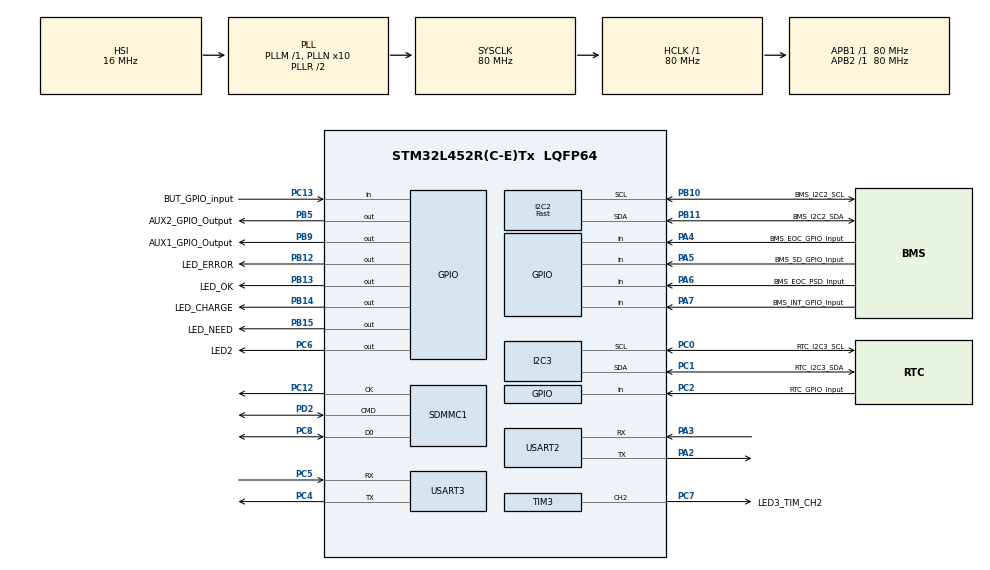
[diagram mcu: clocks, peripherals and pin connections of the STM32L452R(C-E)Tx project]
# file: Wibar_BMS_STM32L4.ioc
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FREERTOS.Tasks01=defaultTask,0,128,StartDefaultTask,Default,NULL,Dynamic,NULL,NULL
FREERTOS.configUSE_CO_ROUTINES=1
FREERTOS.configUSE_NEWLIB_REENTRANT=1
I2C2.I2C_Speed_Mode=I2C_Fast
I2C2.Timing=0x00F12981
I2C3.Timing=0x10D19CE4
IWDG.Prescaler=IWDG_PRESCALER_256
IWDG.Reload=3999
IWDG.Window=3999
Mcu.Family=STM32L4
Mcu.Name=STM32L452R(C-E)Tx
Mcu.Package=LQFP64
NVIC.PriorityGroup=NVIC_PRIORITYGROUP_4
NVIC.TIM1_UP_TIM16_IRQn=true\:15\:0\:false\:false\:true\:false\:true\:true\:true
PA13\ (JTMS/SWDIO).Mode=Serial_Wire
PA13\ (JTMS/SWDIO).Signal=SYS_JTMS-SWDIO
PA14\ (JTCK/SWCLK).Mode=Serial_Wire
PA14\ (JTCK/SWCLK).Signal=SYS_JTCK-SWCLK
PA2.Mode=Asynchronous
PA2.Signal=USART2_TX
PA3.Mode=Asynchronous
PA3.Signal=USART2_RX
PA4.GPIO_Label=BMS_EOC_GPIO_Input
PA4.Signal=GPIO_Input
PA5.GPIO_Label=BMS_SD_GPIO_Input
PA5.Signal=GPIO_Input
PA6.GPIO_Label=BMS_EOC_PSD_Input
PA6.Signal=GPIO_Input
PA7.GPIO_Label=BMS_INT_GPIO_Input
PA7.Signal=GPIO_Input
PB10.GPIO_Label=BMS_I2C2_SCL
PB10.Mode=I2C
PB10.Signal=I2C2_SCL
PB11.GPIO_Label=BMS_I2C2_SDA
PB11.Mode=I2C
PB11.Signal=I2C2_SDA
PB12.GPIO_Label=LED_ERROR
PB12.Signal=GPIO_Output
PB13.GPIO_Label=LED_OK
PB13.Signal=GPIO_Output
PB14.GPIO_Label=LED_CHARGE
PB14.Signal=GPIO_Output
PB15.GPIO_Label=LED_NEED
PB15.Signal=GPIO_Output
PB5.GPIO_Label=AUX2_GPIO_Output
PB5.Signal=GPIO_Output
PB9.GPIO_Label=AUX1_GPIO_Output
PB9.Signal=GPIO_Output
PC0.GPIO_Label=RTC_I2C3_SCL
PC0.Mode=I2C
PC0.Signal=I2C3_SCL
PC1.GPIO_Label=RTC_I2C3_SDA
PC1.Mode=I2C
PC1.Signal=I2C3_SDA
PC12.Mode=SD_1_bit
PC12.Signal=SDMMC1_CK
PC13.GPIO_Label=BUT_GPIO_input
PC13.GPIO_PuPd=GPIO_NOPULL
PC13.Signal=GPIO_Input
PC14-OSC32_IN\ (PC14).Mode=LSE-External-Oscillator
PC14-OSC32_IN\ (PC14).Signal=RCC_OSC32_IN
PC15-OSC32_OUT\ (PC15).Mode=LSE-External-Oscillator
PC15-OSC32_OUT\ (PC15).Signal=RCC_OSC32_OUT
PC2.GPIO_Label=RTC_GPIO_Input
PC2.Signal=GPIO_Input
PC4.Mode=Asynchronous
PC4.Signal=USART3_TX
PC5.Mode=Asynchronous
PC5.Signal=USART3_RX
PC6.GPIO_Label=LED2
PC6.Signal=GPIO_Output
PC7.GPIO_Label=LED3_TIM_CH2
PC7.Signal=S_TIM3_CH2
PC8.Mode=SD_1_bit
PC8.Signal=SDMMC1_D0
PD2.Mode=SD_1_bit
PD2.Signal=SDMMC1_CMD
ProjectManager.HeapSize=0x400
ProjectManager.StackSize=0x400
ProjectManager.TargetToolchain=STM32CubeIDE
RCC.ADCFreq_Value=64000000
RCC.AHBFreq_Value=80000000
RCC.APB1Freq_Value=80000000
RCC.APB1TimFreq_Value=80000000
RCC.APB2Freq_Value=80000000
RCC.APB2TimFreq_Value=80000000
RCC.CortexFreq_Value=80000000
RCC.HCLKFreq_Value=80000000
RCC.HSE_VALUE=8000000
RCC.HSI48_VALUE=48000000
RCC.HSI_VALUE=16000000
RCC.MSI_VALUE=4000000
RCC.PLLN=10
RCC.PLLSAI1Q=RCC_PLLQ_DIV4
RCC.PLLSourceVirtual=RCC_PLLSOURCE_HSI
RCC.SYSCLKFreq_VALUE=80000000
RCC.SYSCLKSource=RCC_SYSCLKSOURCE_PLLCLK
RCC.USBFreq_Value=32000000
RCC.VCOOutputFreq_Value=160000000
SH.S_TIM3_CH2.0=TIM3_CH2,PWM Generation2 CH2
TIM16.AutoReloadPreload=TIM_AUTORELOAD_PRELOAD_DISABLE
TIM16.Period=9999
TIM16.Prescaler=7999
TIM3.Channel-PWM\ Generation2\ CH2=TIM_CHANNEL_2
TIM3.Period=100-1
TIM3.Prescaler=4000-1
TIM3.Pulse-PWM\ Generation2\ CH2=100-1
USART2.VirtualMode-Asynchronous=VM_ASYNC
USART3.VirtualMode-Asynchronous=VM_ASYNC
VP_FREERTOS_VS_CMSIS_V1.Mode=CMSIS_V1
VP_IWDG_VS_IWDG.Mode=IWDG_Activate
VP_RNG_VS_RNG.Mode=RNG_Activate
VP_TIM16_VS_ClockSourceINT.Mode=Enable_Timer
board=custom

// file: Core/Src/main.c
/* USER CODE BEGIN Header */
/**
  ******************************************************************************
  * @file           : main.c
  * @brief          : Main program body
  ******************************************************************************
  * @attention
  *
  * Copyright (c) 2024 STMicroelectronics.
  * All rights reserved.
  *
  * This software is licensed under terms that can be found in the LICENSE file
  * in the root directory of this software component.
  * If no LICENSE file comes with this software, it is provided AS-IS.
  *
  ******************************************************************************
  */
/* USER CODE END Header */
#include "main.h"
#include "cmsis_os.h"
#include "i2c.h"
#include "iwdg.h"
#include "rng.h"
#include "sdmmc.h"
#include "tim.h"
#include "usart.h"
#include "gpio.h"

void SystemClock_Config(void);
void PeriphCommonClock_Config(void);
void MX_FREERTOS_Init(void);

int main(void)
{

  /* MCU Configuration--------------------------------------------------------*/

  /* Reset of all peripherals, Initializes the Flash interface and the Systick. */
  HAL_Init();

  /* Configure the system clock */
  SystemClock_Config();

  /* Configure the peripherals common clocks */
  PeriphCommonClock_Config();

  /* USER CODE BEGIN SysInit */
  HAL_Delay(3000);
  /* USER CODE END SysInit */

  /* Initialize all configured peripherals */
  MX_GPIO_Init();
  MX_USART2_UART_Init();
  MX_TIM3_Init();
  MX_I2C2_Init();
  MX_USART3_UART_Init();
  MX_SDMMC1_SD_Init();
  MX_I2C3_Init();
  MX_IWDG_Init();
  MX_TIM16_Init();
  MX_RNG_Init();
  /* USER CODE BEGIN 2 */

  HAL_GPIO_WritePin(LED2_GPIO_Port, LED2_Pin, GPIO_PIN_SET);

  Init_SDcard();

  printf("\r\n");
  printf("------------------------\r\n");
  printf("Welcome from STM32L452RE\r\n");
  printf("------------------------\r\n");

  /* USER CODE END 2 */

  /* Call init function for freertos objects (in cmsis_os2.c) */
  MX_FREERTOS_Init();

  /* Start scheduler */
  osKernelStart();

  /* We should never get here as control is now taken by the scheduler */

  /* Infinite loop */
  while (1)
  {

    /* USER CODE BEGIN 3 */
	//  timerTask();

  }
  /* USER CODE END 3 */
}

void SystemClock_Config(void)
{
  RCC_OscInitTypeDef RCC_OscInitStruct = {0};
  RCC_ClkInitTypeDef RCC_ClkInitStruct = {0};

  /** Configure the main internal regulator output voltage
  */
  if (HAL_PWREx_ControlVoltageScaling(PWR_REGULATOR_VOLTAGE_SCALE1) != HAL_OK)
  {
    Error_Handler();
  }

  /** Initializes the RCC Oscillators according to the specified parameters
  * in the RCC_OscInitTypeDef structure.
  */
  RCC_OscInitStruct.OscillatorType = RCC_OSCILLATORTYPE_HSI|RCC_OSCILLATORTYPE_LSI;
  RCC_OscInitStruct.HSIState = RCC_HSI_ON;
  RCC_OscInitStruct.HSICalibrationValue = 64;
  RCC_OscInitStruct.LSIState = RCC_LSI_ON;
  RCC_OscInitStruct.PLL.PLLState = RCC_PLL_ON;
  RCC_OscInitStruct.PLL.PLLSource = RCC_PLLSOURCE_HSI;
  RCC_OscInitStruct.PLL.PLLM = 1;
  RCC_OscInitStruct.PLL.PLLN = 10;
  RCC_OscInitStruct.PLL.PLLP = RCC_PLLP_DIV7;
  RCC_OscInitStruct.PLL.PLLQ = RCC_PLLQ_DIV2;
  RCC_OscInitStruct.PLL.PLLR = RCC_PLLR_DIV2;
  if (HAL_RCC_OscConfig(&RCC_OscInitStruct) != HAL_OK)
  {
    Error_Handler();
  }

  /** Initializes the CPU, AHB and APB buses clocks
  */
  RCC_ClkInitStruct.ClockType = RCC_CLOCKTYPE_HCLK|RCC_CLOCKTYPE_SYSCLK
                              |RCC_CLOCKTYPE_PCLK1|RCC_CLOCKTYPE_PCLK2;
  RCC_ClkInitStruct.SYSCLKSource = RCC_SYSCLKSOURCE_PLLCLK;
  RCC_ClkInitStruct.AHBCLKDivider = RCC_SYSCLK_DIV1;
  RCC_ClkInitStruct.APB1CLKDivider = RCC_HCLK_DIV1;
  RCC_ClkInitStruct.APB2CLKDivider = RCC_HCLK_DIV1;

  if (HAL_RCC_ClockConfig(&RCC_ClkInitStruct, FLASH_LATENCY_4) != HAL_OK)
  {
    Error_Handler();
  }
}

void PeriphCommonClock_Config(void)
{
  RCC_PeriphCLKInitTypeDef PeriphClkInit = {0};

  /** Initializes the peripherals clock
  */
  PeriphClkInit.PeriphClockSelection = RCC_PERIPHCLK_SDMMC1|RCC_PERIPHCLK_RNG;
  PeriphClkInit.RngClockSelection = RCC_RNGCLKSOURCE_PLLSAI1;
  PeriphClkInit.Sdmmc1ClockSelection = RCC_SDMMC1CLKSOURCE_PLLSAI1;
  PeriphClkInit.PLLSAI1.PLLSAI1Source = RCC_PLLSOURCE_HSI;
  PeriphClkInit.PLLSAI1.PLLSAI1M = 1;
  PeriphClkInit.PLLSAI1.PLLSAI1N = 8;
  PeriphClkInit.PLLSAI1.PLLSAI1P = RCC_PLLP_DIV7;
  PeriphClkInit.PLLSAI1.PLLSAI1Q = RCC_PLLQ_DIV4;
  PeriphClkInit.PLLSAI1.PLLSAI1R = RCC_PLLR_DIV2;
  PeriphClkInit.PLLSAI1.PLLSAI1ClockOut = RCC_PLLSAI1_48M2CLK;
  if (HAL_RCCEx_PeriphCLKConfig(&PeriphClkInit) != HAL_OK)
  {
    Error_Handler();
  }
}

/* USER CODE BEGIN 4 */
//__weak void HAL_Delay(uint32_t Delay)
//{
//	osDelay(Delay);
//}
/* USER CODE END 4 */

void Error_Handler(void)
{
  /* USER CODE BEGIN Error_Handler_Debug */
  /* User can add his own implementation to report the HAL error return state */
	HAL_GPIO_WritePin(LED2_GPIO_Port, LED2_Pin, 				GPIO_PIN_RESET);
	HAL_GPIO_WritePin(LED_ERROR_GPIO_Port, LED_ERROR_Pin, 		GPIO_PIN_RESET);
	HAL_GPIO_WritePin(LED_NEED_GPIO_Port, LED_NEED_Pin, 		GPIO_PIN_SET);
	HAL_GPIO_WritePin(LED_CHARGE_GPIO_Port, LED_CHARGE_Pin,		GPIO_PIN_SET);
	HAL_GPIO_WritePin(LED_OK_GPIO_Port, LED_OK_Pin, 			GPIO_PIN_SET);
  __disable_irq();

  while (1)
  {
  }
  /* USER CODE END Error_Handler_Debug */
}

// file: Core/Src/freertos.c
/* USER CODE BEGIN Header */
/**
  ******************************************************************************
  * File Name          : freertos.c
  * Description        : Code for freertos applications
  ******************************************************************************
  * @attention
  *
  * Copyright (c) 2024 STMicroelectronics.
  * All rights reserved.
  *
  * This software is licensed under terms that can be found in the LICENSE file
  * in the root directory of this software component.
  * If no LICENSE file comes with this software, it is provided AS-IS.
  *
  ******************************************************************************
  */
/* USER CODE END Header */

#include "FreeRTOS.h"
#include "task.h"
#include "main.h"
#include "cmsis_os.h"

/* USER CODE BEGIN Includes */
#include "tim.h"
#include "math.h"
#include "stdio.h"

#include "iwdg.h"
#include "mydevice.h"
#include "ISL94202.h"
#include "BMS.h"
//#include "FSM.h"
#include "TCA9554.h"
//#include "onewire.h"
#include <string.h>

/* USER CODE END Includes */

/* USER CODE BEGIN PD */
//#define BUT_WAKE  	0x0
//#define BUT_SLEEP  	0x1

#define ON  		0x1
#define OFF  		0x0

#define TIME_01s  	1U
#define TIME_05s  	5U
#define TIME_1s  	10U
#define TIME_2s  	20U
#define TIME_3s  	30U
#define TIME_5s  	50U
#define TIME_10s 	100U
#define TIME_12s 	120U
#define TIME_2min 	1200U

/* USER CODE END PD */

/* USER CODE BEGIN PM */

typedef enum
{
	BUT_WAKE,
	BUT_SLEEP
}eBut_state;

typedef enum
{
	LED_ON_BOARD,
	LED_ERROR,
	LED_OK,
	LED_90,
	LED_30
}eLed_state;

typedef struct {
	float out;
	float Kahan;
} adc_t;

static float Ceil_3(float liczba)
{
	float wynik = liczba*1000;
	int a = (int)wynik;

	wynik =(float)a/1000;
	return wynik;
}

float Filter1_calc(float input, adc_t* add, float Ts_Ti)
{
	float integrator_last = add->out;
	float y = Ts_Ti * (input - integrator_last) - add->Kahan;
	add->out = integrator_last + y;
	add->Kahan = (add->out - integrator_last) - y;
	return add->out;
}

adc_t adc[14];
static float adc_Ts_Ti = 0.075;

static int cnt2;

/* USER CODE END PM */

osThreadId defaultTaskHandle;

/* USER CODE BEGIN FunctionPrototypes */
static void Shutdown_all(void){
	f_close(&MyFile);
	FATFS_UnLinkDriver(SDPath);

	printf(": BMS force shutdown!!!\r\n");
	myBms.Control3.CONTROL3_BIT.PDWN = 1;
	BMS_writeByte(CONTROL3_ADDR, myBms.Control3.CONTROL3);
}

/* USER CODE END FunctionPrototypes */

void StartDefaultTask(void const * argument);

void MX_FREERTOS_Init(void); /* (MISRA C 2004 rule 8.1) */

/* GetIdleTaskMemory prototype (linked to static allocation support) */
void vApplicationGetIdleTaskMemory( StaticTask_t **ppxIdleTaskTCBBuffer, StackType_t **ppxIdleTaskStackBuffer, uint32_t *pulIdleTaskStackSize );

/* USER CODE BEGIN GET_IDLE_TASK_MEMORY */
static StaticTask_t xIdleTaskTCBBuffer;
static StackType_t xIdleStack[configMINIMAL_STACK_SIZE];

void vApplicationGetIdleTaskMemory( StaticTask_t **ppxIdleTaskTCBBuffer, StackType_t **ppxIdleTaskStackBuffer, uint32_t *pulIdleTaskStackSize )
{
  *ppxIdleTaskTCBBuffer = &xIdleTaskTCBBuffer;
  *ppxIdleTaskStackBuffer = &xIdleStack[0];
  *pulIdleTaskStackSize = configMINIMAL_STACK_SIZE;
  /* place for user code */
}
/* USER CODE END GET_IDLE_TASK_MEMORY */

void MX_FREERTOS_Init(void) {

  /* Create the thread(s) */
  /* definition and creation of defaultTask */
  osThreadDef(defaultTask, StartDefaultTask, osPriorityNormal, 0, 128);
  defaultTaskHandle = osThreadCreate(osThread(defaultTask), NULL);

}

void StartDefaultTask(void const * argument)
{
  /* USER CODE BEGIN StartDefaultTask */
	// For LED3
	HAL_TIM_PWM_Start(&htim3, TIM_CHANNEL_2);

	bms.init = 1;
	//cpu.SDCardSave = 1;

	//write config ISL
	ISL94202_Init();

	//Control 0
	myBms.Control0.CONTROL0 = 0;;
	myBms.Control0.CONTROL0_BIT.CG = 0x01;	// The Current Gain setting to x5
	BMS_writeByte(CONTROL0_ADDR, myBms.Control0.CONTROL0);
	//Control 1
	BMS_writeByte(CONTROL1_ADDR, myBms.Control1.CONTROL1);
	//Control 2
	myBms.Control2.CONTROL2 = 0;
	myBms.Control2.CONTROL2_BIT.uC_FET = 1;
	myBms.Control2.CONTROL2_BIT.uC_CBAL = 0;
	myBms.Control2.CONTROL2_BIT.CBAL_ON = 1;
	BMS_writeByte(CONTROL2_ADDR, myBms.Control2.CONTROL2);
	//Control 3
	myBms.Control3.CONTROL3_BIT.DOZE = 0;
	BMS_writeByte(CONTROL3_ADDR, myBms.Control3.CONTROL3);

  /* Infinite loop */
	for(;;){
		ISL94202_ReadCellVoltages();
		BatteryPack = CheckBatteryStatus();
		ISL94202_ReadPackCurrent();
		ISL94202_ReadTemperatures();
		ISL94202_ReadPackVoltage();
		ISL94202_MinMaxVoltage();
		ISL94202_ReadVRGO();
		ISL94202_ReadStatusRegisters();
		ISL94202_ReadControlRegisters();

		myBms.Errors.bit.OVF	= BMSOpRegs.STATUS0.STATUS0_BIT.OVF;
		myBms.Errors.bit.OVLOF	= BMSOpRegs.STATUS0.STATUS0_BIT.OVLOF;
		myBms.Errors.bit.UVF	= BMSOpRegs.STATUS0.STATUS0_BIT.UVF;
		myBms.Errors.bit.UVLOF	= BMSOpRegs.STATUS0.STATUS0_BIT.UVLOF;
		myBms.Errors.bit.DOTF	= BMSOpRegs.STATUS0.STATUS0_BIT.DOTF;
		myBms.Errors.bit.DUTF	= BMSOpRegs.STATUS0.STATUS0_BIT.DUTF;
		myBms.Errors.bit.COTF	= BMSOpRegs.STATUS0.STATUS0_BIT.COTF;
		myBms.Errors.bit.CUTF	= BMSOpRegs.STATUS0.STATUS0_BIT.CUTF;

		myBms.Errors.bit.IOTF	= BMSOpRegs.STATUS1.STATUS1_BIT.IOTF;
		myBms.Errors.bit.COCF	= BMSOpRegs.STATUS1.STATUS1_BIT.COCF;
		myBms.Errors.bit.DOCF	= BMSOpRegs.STATUS1.STATUS1_BIT.DOCF;
		myBms.Errors.bit.DSCF	= BMSOpRegs.STATUS1.STATUS1_BIT.DSCF;
		myBms.Errors.bit.CELLF	= BMSOpRegs.STATUS1.STATUS1_BIT.CELLF;
		myBms.Errors.bit.OPENF	= BMSOpRegs.STATUS1.STATUS1_BIT.OPENF;

		myBms.Errors.bit.CBOT	= BMSOpRegs.STATUS3.STATUS3_BIT.CBOT;
		myBms.Errors.bit.CBUT	= BMSOpRegs.STATUS3.STATUS3_BIT.CBUT;

		//filter adc measurements
		for(uint8_t i=0;i<8;i++){
			bms.CellVoltages[i] = Ceil_3(Filter1_calc(BMSMeasurements.CellVoltages[i],&adc[i],adc_Ts_Ti));
		}
		bms.Vcellmin 	= Ceil_3(Filter1_calc(BMSMeasurements.Vcellmin,&adc[8],adc_Ts_Ti));
		bms.Vcellmax 	= Ceil_3(Filter1_calc(BMSMeasurements.Vcellmax,&adc[9],adc_Ts_Ti));
		bms.PackCurrent = Ceil_3(Filter1_calc(BMSMeasurements.PackCurrent,&adc[10],adc_Ts_Ti*10));
		bms.Vpack 		= Ceil_3(Filter1_calc(BMSMeasurements.Vpack,&adc[11],adc_Ts_Ti));
		bms.Temp1 		= Ceil_3(Filter1_calc(BMSMeasurements.Temp1,&adc[12],adc_Ts_Ti));
		bms.Temp2 		= Ceil_3(Filter1_calc(BMSMeasurements.Temp2,&adc[13],adc_Ts_Ti));

		if(bms.init){
			bms.init = 0;
			bms.state = STATE_DISCARGE;
			//Settings
			bms.set.CellDiffvalue_V 		= 0.8;
			bms.set.MaxTemperature_degree 	= 60.0;
			bms.set.MinTemperature_degree 	= 0.0;
			bms.set.PackVoltageMax_V 		= 29.5;
			bms.set.PackChargeVoltage_V 	= 29.3;
			bms.set.PackVoltageLed30_V		= 22.5;
			bms.set.PackDischargeVoltage_V 	= 20.5;
			bms.set.PackVoltageMin_V 		= 19.0;
			bms.set.CellDiffvalue_cnt		= 200;
			bms.set.CelVoltageMax_V			= 4.25;
			bms.set.CelVoltageMin_V			= 2.4;
		}

		//Main program
		if(bms.cntStart > TIME_3s){

			if(bms.Vcellmax > bms.set.CelVoltageMax_V){
				bms.alarms_cnt[5]++;
			}else bms.alarms_cnt[5] = 0;
			if ( bms.alarms_cnt[5] > TIME_5s) bms.alarms.bit.CellOverVoltage = 1;

			//Calculations
			bms.cal.CellDiff_V = bms.Vcellmax - bms.Vcellmin;
			if (bms.cal.CellDiff_V > bms.set.CellDiffvalue_V) 	bms.cal.CellDiff_cnt++;
			else												bms.cal.CellDiff_cnt = 0;
			//Buttons
			//bms.gpio.ButtonState[BUT_WAKE] =  1;
			bms.gpio.ButtonState[BUT_WAKE] =  HAL_GPIO_ReadPin(BUT_GPIO_input_GPIO_Port, BUT_GPIO_input_Pin);
	//TODO:don't use button
			bms.gpio.ButtonState[BUT_SLEEP] =  0;

			//ALARMS
			if((bms.Temp1 > bms.set.MaxTemperature_degree ||
					bms.Temp2 > bms.set.MaxTemperature_degree)){
				bms.alarms_cnt[0]++;
			}else bms.alarms_cnt[0] = 0;
			if ( bms.alarms_cnt[0] > TIME_5s) bms.alarms.bit.OverTemperature = 1;

			if((bms.Temp1 < bms.set.MinTemperature_degree ||
					bms.Temp2 < bms.set.MinTemperature_degree)){
				bms.alarms_cnt[1]++;
			}else bms.alarms_cnt[1] = 0;
			if ( bms.alarms_cnt[1] > TIME_5s) bms.alarms.bit.UnderTemperature = 1;

			if(bms.Vpack > bms.set.PackVoltageMax_V){
				bms.alarms_cnt[2]++;
			}else bms.alarms_cnt[2] = 0;
			if ( bms.alarms_cnt[2] > TIME_5s) bms.alarms.bit.PackOverVoltage = 1;

			if(bms.Vpack < bms.set.PackVoltageMin_V){
				bms.alarms_cnt[3]++;
			}else bms.alarms_cnt[3] = 0;
			if ( bms.alarms_cnt[3] > TIME_5s) bms.alarms.bit.PackUnderVoltage = 1;

			if(bms.cal.CellDiff_cnt > bms.set.CellDiffvalue_cnt){
				bms.alarms_cnt[3]++;
			}else bms.alarms_cnt[3] = 0;
			if ( bms.alarms_cnt[3] > TIME_5s) bms.alarms.bit.CellsDiferenceVoltage = 1;

			if(bms.Vcellmin < bms.set.CelVoltageMin_V){
				bms.alarms_cnt[4]++;
			}else bms.alarms_cnt[4] = 0;
			if ( bms.alarms_cnt[4] > TIME_5s) bms.alarms.bit.CellUnderVoltage = 1;

			if(bms.Vcellmax > bms.set.CelVoltageMax_V){
				bms.alarms_cnt[5]++;
			}else bms.alarms_cnt[5] = 0;
			if ( bms.alarms_cnt[5] > TIME_5s) bms.alarms.bit.CellOverVoltage = 1;

			//if (bms.alarms.bit.ISL_OVLO) 	BMSOpRegs.STATUS0.STATUS0_BIT.OVLOF = 1;
			//if (bms.alarms.bit.ISL_OV) 	BMSOpRegs.STATUS0.STATUS0_BIT.OVF	= 1;
			//if (bms.alarms.bit.ISL_UV) 	BMSOpRegs.STATUS0.STATUS0_BIT.UVF	= 1;
			//if (bms.alarms.bit.ISL_UVLO)	BMSOpRegs.STATUS0.STATUS0_BIT.UVLOF = 1;

			switch(bms.state)
			{
			   case STATE_IDLE:
				   if(bms.gpio.ButtonState[BUT_WAKE]) bms.ButBlocked = 0;
				   if (!bms.ButBlocked){
					   if (bms.gpio.ButtonState[BUT_WAKE])	bms.cntSleep = bms.cntSleep+1;
					   else									bms.cntSleep = 0;
				   }

				   if (bms.cntSleep >= TIME_1s) {
					   bms.alarms.all = 0;
					   bms.cntSleep = 0;
					   bms.state = STATE_DISCARGE;
				   }
				   //bms.state = STATE_DISCARGE;
				   break;

			   case STATE_CHARGE:
				   //check errors
				   if(bms.alarms.all){
					   bms.state = STATE_ERROR;
					   break;
				   }

				   //Idle state, absorbing  charge
				   //if(bms.PackCurrent == 0){
					//   if(bms.cnt[0] > TIME_2min){
					//	   bms.AbsorbingCharge = 1;
					//   }else bms.cnt[0]++;
				  // }else{
					//   bms.cnt[0] = 0;
					//   bms.AbsorbingCharge = 0;
				  /// }

				   //change state to discharging
				   if(bms.PackCurrent < 0){
					   if(bms.cnt[1]++ > TIME_05s){
						   bms.cnt[1] = 0;
						   bms.state = STATE_DISCARGE;
						   break;
					   }
				   }else{
					   bms.cnt[1] = 0;
				   }

				   //charge recognition
				   if(bms.Vpack > bms.set.PackChargeVoltage_V){
					   if(bms.cnt[2]++ > TIME_5s){
						   bms.cnt[2] = 0;
						   //bms.state = STATE_IDLE;
						   //break;
					   }
				   }else{
					   bms.cnt[2] = 0;
				   }

				   //force end of discharging
				   if (bms.gpio.ButtonState[BUT_WAKE])	bms.cntSleep = bms.cntSleep+1;
				   else									bms.cntSleep = 0;

				   if (bms.cntSleep >= TIME_1s) {
					   bms.ButBlocked = 1;
					   bms.cntSleep = 0;
					   Shutdown_all();
				   }

				   break;

			   case STATE_DISCARGE:
				   //check errors
				   if(bms.alarms.all){
					   bms.state = STATE_ERROR;
					   break;
				   }

				   //turning off charging
				   if(bms.PackCurrent > 0){
					   if(bms.cnt[0]++ > TIME_10s){
						   bms.cnt[0] = 0;
						   bms.state = STATE_CHARGE;
						   break;
					   }
				   }else{
					   bms.cnt[0] = 0;
				   }

					if(bms.Vpack < bms.set.PackDischargeVoltage_V){
					   if(bms.cnt[2]++ > TIME_12s){
						   bms.cnt[2] = 0;
						   bms.state = STATE_ERROR;
					   }
					}else{
					   bms.cnt[2] = 0;
					}

				   //force end of charging
				   if (bms.gpio.ButtonState[BUT_WAKE])	bms.cntSleep = bms.cntSleep+1;
				   else									bms.cntSleep = 0;

				   if (bms.cntSleep >= TIME_1s) {
					   bms.ButBlocked = 1;
					   bms.cntSleep = 0;
					   Shutdown_all();
				   }

				   break;

			   case STATE_ERROR:
				   //Auto sleep
				   bms.cntErrorSleep++;
				   if (bms.cntErrorSleep >= TIME_2min) {
					   bms.cntErrorSleep = 0;
					   Shutdown_all();
				   }

				   //force end of charging
				   if (bms.gpio.ButtonState[BUT_WAKE])	bms.cntSleep = bms.cntSleep+1;
				   else									bms.cntSleep = 0;

				   if (bms.cntSleep >= TIME_1s) {
					   bms.ButBlocked = 1;
					   bms.cntSleep = 0;
					   bms.state = STATE_IDLE;
				   }
				   break;

			   default:
				   bms.state = STATE_IDLE;
				   break;
			}

			if(bms.Vpack > bms.set.PackChargeVoltage_V-0.1) bms.AbsorbingCharge = 1;
			else											bms.AbsorbingCharge = 0;

			//LED OK
			if(bms.gpio.led_cnt[0] == TIME_2s) 	bms.gpio.led_cnt[0] = 0;
			else								bms.gpio.led_cnt[0]++;
			if(bms.gpio.led_cnt[1] == TIME_05s) bms.gpio.led_cnt[1] = 0;
			else								bms.gpio.led_cnt[1]++;

			if(bms.state == STATE_ERROR)				bms.gpio.LedState[LED_OK] 	= OFF;
			else if(bms.state == STATE_CHARGE
					&& bms.AbsorbingCharge == 0
					&& bms.gpio.led_cnt[1] >= TIME_05s-3)bms.gpio.LedState[LED_OK] 	= ON;
			else if(bms.state == STATE_CHARGE
					&& bms.AbsorbingCharge == 1)		bms.gpio.LedState[LED_OK] 	= ON;
			else if(bms.state != STATE_CHARGE
					&& bms.gpio.led_cnt[0] >=TIME_2s-1)	bms.gpio.LedState[LED_OK] 	= ON;
			else										bms.gpio.LedState[LED_OK] 	= OFF;

			//LED 30
			if(BMSMeasurements.Vpack < bms.set.PackVoltageLed30_V) 	bms.gpio.LedState[LED_30] = ON;
			else													bms.gpio.LedState[LED_30] = OFF;

			//LED 90
			if(bms.cal.CellDiff_V >0.3){
				if(bms.gpio.led_cnt[0] >=TIME_2s-1)	bms.gpio.LedState[LED_90] 	= !bms.gpio.ConnectorsState[0];
				else								bms.gpio.LedState[LED_90] 	= bms.gpio.ConnectorsState[0];
			}
			else									bms.gpio.LedState[LED_90] 	= bms.gpio.ConnectorsState[0];

			//LED ERROR
			if(bms.cal.CellDiff_V >0.8){
				if(bms.gpio.led_cnt[0] >=TIME_2s-1)	bms.gpio.LedState[LED_ERROR] = OFF;
				else								bms.gpio.LedState[LED_ERROR] = ON;
			}
			else if (bms.state == STATE_ERROR)		bms.gpio.LedState[LED_ERROR] = ON;
			else									bms.gpio.LedState[LED_ERROR] = OFF;

			//LED ON_BOARD
			bms.gpio.LedState[LED_ON_BOARD] = bms.gpio.LedState[LED_OK];

			if (bms.state == STATE_CHARGE || bms.state == STATE_DISCARGE)	bms.gpio.ConnectorsState[0]	= ON;
			else															bms.gpio.ConnectorsState[0]	= OFF;
			myBms.GPIO_AUX2 =  bms.gpio.ConnectorsState[0];

			// ConnectorsState 1
			bms.gpio.ConnectorsState[1]		= OFF;

			HAL_GPIO_WritePin(LED_ERROR_GPIO_Port, LED_ERROR_Pin, 		!bms.gpio.LedState[LED_ERROR]);
			HAL_GPIO_WritePin(LED_NEED_GPIO_Port, LED_NEED_Pin, 		!bms.gpio.LedState[LED_30]);
			HAL_GPIO_WritePin(LED_CHARGE_GPIO_Port, LED_CHARGE_Pin,		!bms.gpio.LedState[LED_90]);
			HAL_GPIO_WritePin(LED_OK_GPIO_Port, LED_OK_Pin, 			!bms.gpio.LedState[LED_OK]);
			HAL_GPIO_WritePin(LED2_GPIO_Port, LED2_Pin, 				!bms.gpio.LedState[LED_ON_BOARD]);
			//HAL_GPIO_WritePin(OUT1_GPIO_Port, OUT1_Pin, 				bms.gpio.ConnectorsState[0]);
			//HAL_GPIO_WritePin(OUT2_GPIO_Port, OUT2_Pin, 				bms.gpio.ConnectorsState[1]);
			HAL_GPIO_WritePin(AUX1_GPIO_Output_GPIO_Port, AUX1_GPIO_Output_Pin, myBms.GPIO_AUX1);
			HAL_GPIO_WritePin(AUX2_GPIO_Output_GPIO_Port, AUX2_GPIO_Output_Pin, myBms.GPIO_AUX2);

			myBms.Errors.status.status0 = BMSOpRegs.STATUS0.STATUS0;
			myBms.Errors.status.status1 = BMSOpRegs.STATUS1.STATUS1 & 0x3F;
			myBms.Errors.status.status3 = BMSOpRegs.STATUS3.STATUS3 & 0x03;

			myBms.Status.status.status1 = (BMSOpRegs.STATUS1.STATUS1>>7);
			myBms.Status.status.status2 = (BMSOpRegs.STATUS2.STATUS2>>2) & 0x03;
			myBms.Status.status.status3 = (BMSOpRegs.STATUS3.STATUS3>>2) & 0x1F;

			myBms.GPIO_EOC 	= !HAL_GPIO_ReadPin(BMS_EOC_GPIO_Input_GPIO_Port, 	BMS_EOC_GPIO_Input_Pin);
			myBms.GPIO_PSD 	= HAL_GPIO_ReadPin(BMS_EOC_PSD_Input_GPIO_Port, 	BMS_EOC_PSD_Input_Pin);
			myBms.GPIO_INT	= HAL_GPIO_ReadPin(BMS_INT_GPIO_Input_GPIO_Port, 	BMS_INT_GPIO_Input_Pin);
			myBms.GPIO_SD	= !HAL_GPIO_ReadPin(BMS_SD_GPIO_Input_GPIO_Port, 	BMS_SD_GPIO_Input_Pin);

			// Force manual balancing
			if (!myBms.Status.bit.DCHING && !myBms.Status.bit.CHING){
				myBms.ForceBalancing = 0;
			}else{
				myBms.ForceBalancing = 0;
			}

			if (myBms.ForceBalancing){
				//only one
				if (!BMSOpRegs.CONTROL2.CONTROL2_BIT.uC_CBAL){
					myBms.Control2.CONTROL2_BIT.uC_CBAL = 1;
					BMS_writeByte(CONTROL2_ADDR, myBms.Control2.CONTROL2);
				}
				//myBms.CBFC = 0xff;
				BMS_writeByte(CBFC_ADDR, myBms.CBFC);
			}else{
				//only one
				if (BMSOpRegs.CONTROL2.CONTROL2_BIT.uC_CBAL){
					myBms.Control2.CONTROL2_BIT.uC_CBAL = 0;
					BMS_writeByte(CONTROL2_ADDR, myBms.Control2.CONTROL2);
				}
			}

		  if (myBms.GPIO_SD && myBms.Status.bit.DCHING){
			  if (cnt2++ >= TIME_10s){
				  cnt2 = 0;
				  Shutdown_all();
			  }
		  }else{
			  cnt2 = 0;
		  }

		  //LED 3
		  if (myBms.GPIO_SD)__HAL_TIM_SET_COMPARE(&htim3, TIM_CHANNEL_2, 90);
		  else __HAL_TIM_SET_COMPARE(&htim3, TIM_CHANNEL_2, 60);

		}else{
			bms.cntStart++;
		}

		if(HAL_IWDG_Refresh(&hiwdg) != HAL_OK) 	myBms.cntWork[0]++;//(1/32000)*256*2500, so max time is 20 s
		else 									myBms.cntWork[1]++;

		osDelay(100);
	//	timerTask();

	}
  /* USER CODE END StartDefaultTask */
}
